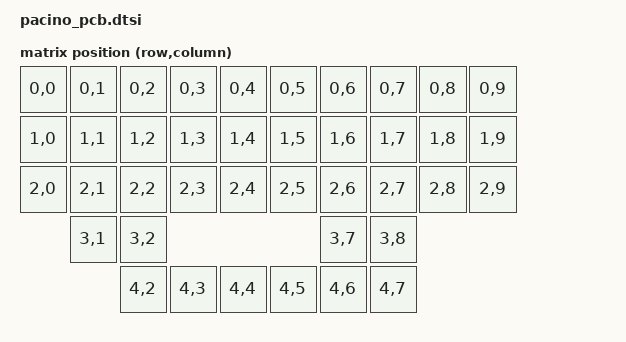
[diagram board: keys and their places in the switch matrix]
/*
 * Pacino, PCB build (the slim variant) -- same 5-column + 2-extra + 3-thumb layout and the same
 * matrix as the hand-wired `pacino` shield, but the pins differ BETWEEN THE HALVES.
 *
 * The board is reversible: one design, flipped over for the right half.  Flipping swaps the
 * controller's two pin rows (a hole that is the left pin row on one half is the right pin row on
 * the other) without changing the position along a row, so every matrix net lands on a different
 * GPIO depending on which half you built.  The ten holes were picked so that both of each hole's
 * pins are usable and neither is pro_micro 1/14/15/16 -- the nice!view's CS/MISO/SCK/MOSI stay free
 * on BOTH halves.  tools/pcb_gen.py prints these two pin lists every time it builds the board.
 *
 * The hand-wired build keeps its own `pacino` shield; do not cross the two.
 */

#include <dt-bindings/zmk/matrix_transform.h>

/ {
    chosen {
        zmk,kscan = &kscan0;
        zmk,matrix-transform = &default_transform;
    };

    default_transform: keymap_transform_0 {
        compatible = "zmk,matrix-transform";
        columns = <10>;
        rows = <5>;
        map = <
RC(0,0) RC(0,1) RC(0,2) RC(0,3) RC(0,4)      RC(0,5) RC(0,6) RC(0,7) RC(0,8) RC(0,9)
RC(1,0) RC(1,1) RC(1,2) RC(1,3) RC(1,4)      RC(1,5) RC(1,6) RC(1,7) RC(1,8) RC(1,9)
RC(2,0) RC(2,1) RC(2,2) RC(2,3) RC(2,4)      RC(2,5) RC(2,6) RC(2,7) RC(2,8) RC(2,9)
        RC(3,1) RC(3,2)                              RC(3,7) RC(3,8)
                RC(4,2) RC(4,3) RC(4,4)      RC(4,5) RC(4,6) RC(4,7)
        >;
    };

    kscan0: kscan {
        compatible = "zmk,kscan-gpio-matrix";
        diode-direction = "col2row";
        wakeup-source;
        /* row-gpios and col-gpios are per half -- see the two overlays */
    };
};
